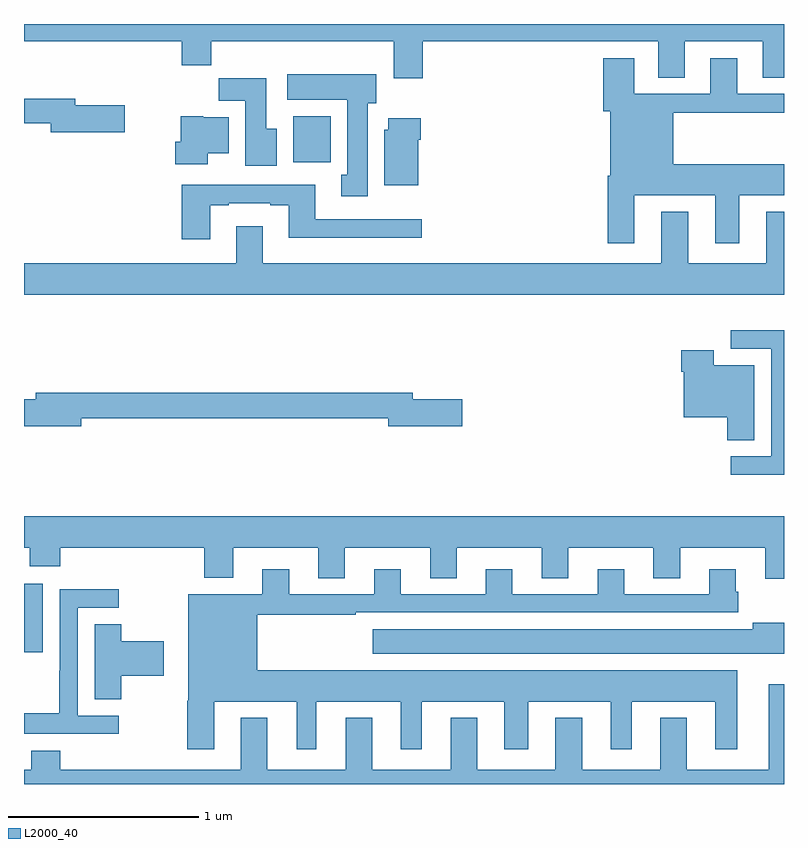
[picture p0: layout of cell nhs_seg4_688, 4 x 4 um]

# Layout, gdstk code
import gdstk
lib = gdstk.Library(unit=1e-6, precision=1e-09)
def R(c, l, rs):  # rectangles x0, y0, x1, y1
    for r in rs: c.add(gdstk.rectangle(r[:2], r[2:], *l))
def P(c, l, *ps):  # polygons
    for p in ps: c.add(gdstk.Polygon(p, *l))
L2000_40 = (2000, 40)

nhs_seg4_688 = lib.new_cell('nhs_seg4_688')
R(nhs_seg4_688, L2000_40, [(145,805.593,145.099,805.954), (146.417,808.172,146.614,808.414)])
P(nhs_seg4_688, L2000_40, [(147.098,808.808),(148.337,808.808),(148.337,808.618),(148.477,808.618),(148.477,808.808),(148.889,808.808),(148.889,808.618),(149,808.618),(149,808.9),(145,808.9),(145,808.808),(145.829,808.808),(145.829,808.684),(145.985,808.684),(145.985,808.808),(146.945,808.808),(146.945,808.614),(147.098,808.614)],
  [(148.213,807.998),(148.637,807.998),(148.637,807.747),(148.765,807.747),(148.765,807.998),(149,807.998),(149,808.162),(148.417,808.162),(148.417,808.432),(149,808.432),(149,808.533),(148.753,808.533),(148.753,808.72),(148.613,808.72),(148.613,808.533),(148.213,808.533),(148.213,808.72),(148.049,808.72),(148.049,808.44),(148.085,808.44),(148.085,808.102),(148.073,808.102),(148.073,807.747),(148.213,807.747)],
  [(146.809,808.482),(146.854,808.482),(146.854,808.636),(146.385,808.636),(146.385,808.502),(146.702,808.502),(146.702,808.106),(146.669,808.106),(146.669,807.993),(146.809,807.993)],
  [(146.329,808.348),(146.275,808.348),(146.275,808.615),(146.026,808.615),(146.026,808.496),(146.165,808.496),(146.165,808.155),(146.329,808.155)],
  [(145.531,808.473),(145.27,808.473),(145.27,808.507),(145,808.507),(145,808.378),(145.142,808.378),(145.142,808.331),(145.531,808.331)],
  [(145.966,808.22),(146.077,808.22),(146.077,808.408),(145.944,808.408),(145.944,808.414),(145.826,808.414),(145.826,808.281),(145.796,808.281),(145.796,808.163),(145.966,808.163)],
  [(147.076,808.292),(147.089,808.292),(147.089,808.405),(146.918,808.405),(146.918,808.344),(146.897,808.344),(146.897,808.052),(147.076,808.052)],
  [(145.981,807.945),(146.077,807.945),(146.077,807.957),(146.297,807.957),(146.297,807.945),(146.393,807.945),(146.393,807.776),(147.094,807.776),(147.094,807.873),(146.533,807.873),(146.533,808.053),(145.829,808.053),(145.829,807.768),(145.981,807.768)],
  [(149,807.913),(148.907,807.913),(148.907,807.64),(148.495,807.64),(148.495,807.913),(148.355,807.913),(148.355,807.64),(146.257,807.64),(146.257,807.835),(146.117,807.835),(146.117,807.64),(145,807.64),(145,807.476),(149,807.476)],
  [(149,807.288),(148.719,807.288),(148.719,807.192),(148.932,807.192),(148.932,806.625),(148.719,806.625),(148.719,806.527),(149,806.527)],
  [(148.843,807.103),(148.63,807.103),(148.63,807.184),(148.46,807.184),(148.46,807.071),(148.472,807.071),(148.472,806.831),(148.7,806.831),(148.7,806.71),(148.843,806.71)],
  [(145.3,806.824),(146.918,806.824),(146.918,806.782),(147.307,806.782),(147.307,806.924),(147.046,806.924),(147.046,806.96),(145.061,806.96),(145.061,806.924),(145,806.924),(145,806.782),(145.3,806.782)],
  [(149,806.308),(145,806.308),(145,806.144),(145.03,806.144),(145.03,806.045),(145.19,806.045),(145.19,806.144),(145.949,806.144),(145.949,805.985),(146.101,805.985),(146.101,806.144),(146.549,806.144),(146.549,805.984),(146.689,805.984),(146.689,806.144),(147.137,806.144),(147.137,805.984),(147.277,805.984),(147.277,806.144),(147.725,806.144),(147.725,805.984),(147.865,805.984),(147.865,806.144),(148.313,806.144),(148.313,805.984),(148.453,805.984),(148.453,806.144),(148.901,806.144),(148.901,805.98),(149,805.98)],
  [(146.002,805.334),(146.435,805.334),(146.435,805.083),(146.539,805.083),(146.539,805.334),(146.984,805.334),(146.984,805.083),(147.094,805.083),(147.094,805.334),(147.527,805.334),(147.527,805.083),(147.655,805.083),(147.655,805.334),(148.088,805.334),(148.088,805.083),(148.198,805.083),(148.198,805.334),(148.637,805.334),(148.637,805.083),(148.753,805.083),(148.753,805.498),(146.227,805.498),(146.227,805.791),(146.747,805.791),(146.747,805.803),(148.76,805.803),(148.76,805.911),(148.747,805.911),(148.747,806.029),(148.607,806.029),(148.607,805.899),(148.159,805.899),(148.159,806.029),(148.019,806.029),(148.019,805.899),(147.571,805.899),(147.571,806.029),(147.431,806.029),(147.431,805.899),(146.983,805.899),(146.983,806.029),(146.843,806.029),(146.843,805.899),(146.395,805.899),(146.395,806.029),(146.255,806.029),(146.255,805.9),(145.865,805.9),(145.865,805.338),(145.858,805.338),(145.858,805.083),(146.002,805.083)],
  [(145.498,805.26),(145.284,805.26),(145.284,805.827),(145.498,805.827),(145.498,805.926),(145.188,805.926),(145.188,805.496),(145.186,805.496),(145.186,805.273),(145,805.273),(145,805.164),(145.498,805.164)],
  [(149,805.75),(148.835,805.75),(148.835,805.714),(146.835,805.714),(146.835,805.586),(149,805.586)],
  [(145.512,805.469),(145.735,805.469),(145.735,805.652),(145.512,805.652),(145.512,805.742),(145.373,805.742),(145.373,805.345),(145.512,805.345)],
  [(149,805.426),(148.919,805.426),(148.919,804.976),(148.489,804.976),(148.489,805.249),(148.349,805.249),(148.349,804.976),(147.937,804.976),(147.937,805.249),(147.797,805.249),(147.797,804.976),(147.385,804.976),(147.385,805.249),(147.245,805.249),(147.245,804.976),(146.833,804.976),(146.833,805.249),(146.693,805.249),(146.693,804.976),(146.281,804.976),(146.281,805.249),(146.141,805.249),(146.141,804.976),(145.19,804.976),(145.19,805.075),(145.037,805.075),(145.037,804.976),(145,804.976),(145,804.9),(149,804.9)])

lib.write_gds('nhs_seg4_688.gds')
